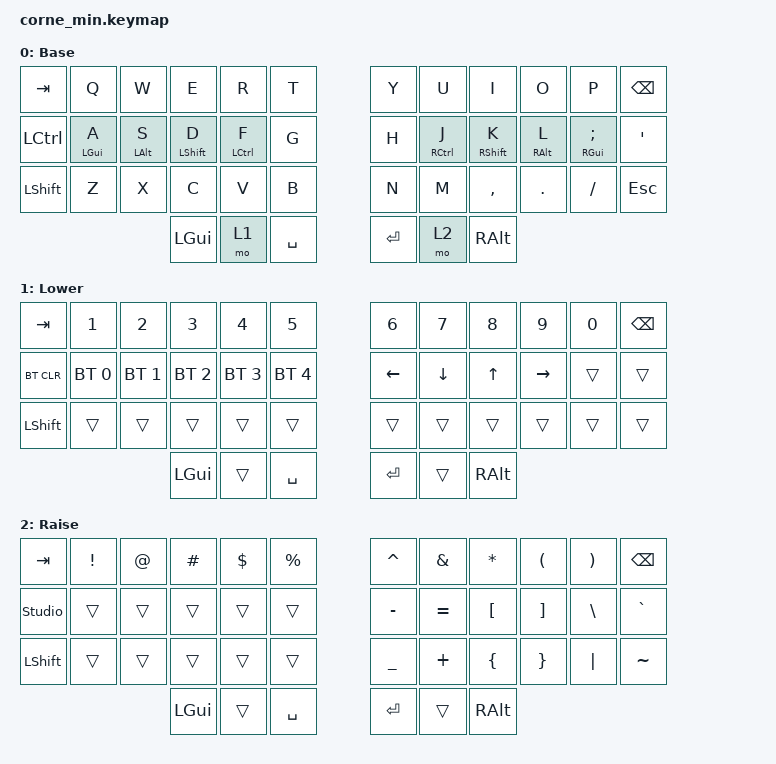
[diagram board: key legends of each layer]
/*
 * Copyright (c) 2020 The ZMK Contributors
 *
 * SPDX-License-Identifier: MIT
 */

#include <behaviors.dtsi>
#include <dt-bindings/zmk/keys.h>
#include <dt-bindings/zmk/bt.h>

/ {
        behaviors {
                hrm: home_row_mods {
                        compatible = "zmk,behavior-hold-tap";
                        #binding-cells = <2>;
                        flavor = "tap-preferred";
                        tapping-term-ms = <200>;
                        bindings = <&kp>, <&kp>;
                };
        };

        keymap {
                compatible = "zmk,keymap";

                default_layer {
                            display-name = "Base";
// -----------------------------------------------------------------------------------------
// |  TAB |  Q  |  W  |  E  |  R  |  T  |   |  Y  |  U   |  I  |  O  |  P  | BSPC |
// | CTRL |  A  |  S  |  D  |  F  |  G  |   |  H  |  J   |  K  |  L  |  ;  |  '   |
// | SHFT |  Z  |  X  |  C  |  V  |  B  |   |  N  |  M   |  ,  |  .  |  /  | ESC  |
//                    | GUI | LWR | SPC |   | ENT | RSE  | ALT |
// Home-row holds: A=GUI, S=Alt, D=Shift, F=Ctrl; J=Ctrl, K=Shift, L=Alt, ;=GUI.
                        bindings = <
   &kp TAB   &kp Q &kp W &kp E &kp R &kp T   &kp Y &kp U  &kp I     &kp O   &kp P    &kp BSPC
   &kp LCTRL &hrm LGUI A &hrm LALT S &hrm LSHFT D &hrm LCTRL F &kp G   &kp H &hrm RCTRL J &hrm RSHFT K &hrm RALT L &hrm RGUI SEMI &kp SQT
   &kp LSHFT &kp Z &kp X &kp C &kp V &kp B   &kp N &kp M  &kp COMMA &kp DOT &kp FSLH &kp ESC
                  &kp LGUI &mo 1 &kp SPACE   &kp RET &mo 2 &kp RALT
                        >;
                };
                lower_layer {
                        display-name = "Lower";
// -----------------------------------------------------------------------------------------
// |  TAB |  1  |  2  |  3  |  4  |  5  |   |  6  |  7  |  8  |  9  |  0  | BSPC |
// | BTCLR| BT1 | BT2 | BT3 | BT4 | BT5 |   | LFT | DWN |  UP | RGT |     |      |
// | SHFT |     |     |     |     |     |   |     |     |     |     |     |      |
//                    | GUI |     | SPC |   | ENT |     | ALT |
                        bindings = <
   &kp TAB    &kp N1       &kp N2       &kp N3       &kp N4       &kp N5         &kp N6   &kp N7   &kp N8 &kp N9    &kp N0 &kp BSPC
   &bt BT_CLR &bt BT_SEL 0 &bt BT_SEL 1 &bt BT_SEL 2 &bt BT_SEL 3 &bt BT_SEL 4   &kp LEFT &kp DOWN &kp UP &kp RIGHT &trans &trans
   &kp LSHFT  &trans       &trans       &trans       &trans       &trans         &trans   &trans   &trans &trans    &trans &trans
                                    &kp LGUI     &trans       &kp SPACE      &kp RET  &trans   &kp RALT
                        >;
                };

                raise_layer {
                        display-name = "Raise";
// -----------------------------------------------------------------------------------------
// |  TAB |  !  |  @  |  #  |  $  |  %  |   |  ^  |  &  |  *  |  (  |  )  | BSPC |
// | CTRL |     |     |     |     |     |   |  -  |  =  |  [  |  ]  |  \  |  `   |
// | SHFT |     |     |     |     |     |   |  _  |  +  |  {  |  }  | "|" |  ~   |
//                    | GUI |     | SPC |   | ENT |     | ALT |
                        bindings = <
   &kp  TAB  &kp EXCL &kp AT &kp HASH &kp DLLR &kp PRCNT   &kp CARET &kp AMPS  &kp ASTRK &kp LPAR &kp RPAR &kp BSPC
   &studio_unlock &trans   &trans &trans   &trans   &trans      &kp MINUS &kp EQUAL &kp LBKT  &kp RBKT &kp BSLH &kp GRAVE
   &kp LSHFT &trans   &trans &trans   &trans   &trans      &kp UNDER &kp PLUS  &kp LBRC  &kp RBRC &kp PIPE &kp TILDE
                             &kp LGUI &trans   &kp SPACE   &kp RET   &trans    &kp RALT
                        >;
                };

                extra1 {
                        display-name = "Extra-1";
                        status = "reserved";
                };

                extra2 {
                        display-name = "Extra-2";
                        status = "reserved";
                };

                extra3 {
                        display-name = "Extra-3";
                        status = "reserved";
                };
        };
};
